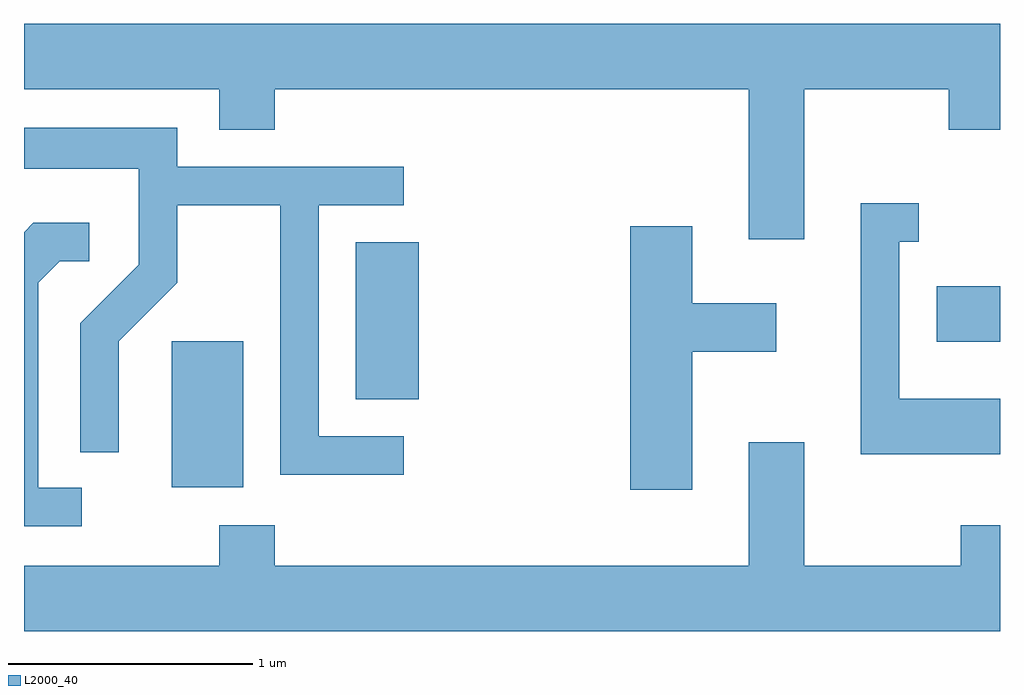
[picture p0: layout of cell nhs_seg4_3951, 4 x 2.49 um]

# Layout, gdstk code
import gdstk
lib = gdstk.Library(unit=1e-6, precision=1e-09)
def R(c, l, rs):  # rectangles x0, y0, x1, y1
    for r in rs: c.add(gdstk.rectangle(r[:2], r[2:], *l))
def P(c, l, *ps):  # polygons
    for p in ps: c.add(gdstk.Polygon(p, *l))
L2000_40 = (2000, 40)

nhs_seg4_3951 = lib.new_cell('nhs_seg4_3951')
R(nhs_seg4_3951, L2000_40, [(302.216,1268.686,302.509,1269.284), (302.971,1269.046,303.229,1269.689), (305.351,1269.281,305.611,1269.509)])
P(nhs_seg4_3951, L2000_40, [(304.809,1270.316),(305.401,1270.316),(305.401,1270.151),(305.611,1270.151),(305.611,1270.584),(301.611,1270.584),(301.611,1270.316),(302.411,1270.316),(302.411,1270.151),(302.639,1270.151),(302.639,1270.316),(304.581,1270.316),(304.581,1269.701),(304.809,1269.701)],
  [(303.168,1268.894),(302.819,1268.894),(302.819,1269.841),(303.168,1269.841),(303.168,1269.999),(302.239,1269.999),(302.239,1270.159),(301.611,1270.159),(301.611,1269.991),(302.081,1269.991),(302.081,1269.597),(301.841,1269.357),(301.841,1268.828),(301.999,1268.828),(301.999,1269.284),(302.239,1269.524),(302.239,1269.841),(302.661,1269.841),(302.661,1268.736),(303.168,1268.736)],
  [(305.611,1269.049),(305.199,1269.049),(305.199,1269.691),(305.278,1269.691),(305.278,1269.849),(305.041,1269.849),(305.041,1268.821),(305.611,1268.821)],
  [(301.848,1268.684),(301.669,1268.684),(301.669,1269.524),(301.757,1269.611),(301.878,1269.611),(301.878,1269.769),(301.649,1269.769),(301.611,1269.731),(301.611,1268.526),(301.848,1268.526)],
  [(304.349,1269.241),(304.694,1269.241),(304.694,1269.439),(304.349,1269.439),(304.349,1269.754),(304.096,1269.754),(304.096,1268.676),(304.349,1268.676)],
  [(305.611,1268.529),(305.451,1268.529),(305.451,1268.364),(304.809,1268.364),(304.809,1268.869),(304.581,1268.869),(304.581,1268.364),(302.639,1268.364),(302.639,1268.529),(302.411,1268.529),(302.411,1268.364),(301.611,1268.364),(301.611,1268.096),(305.611,1268.096)])

lib.write_gds('nhs_seg4_3951.gds')
